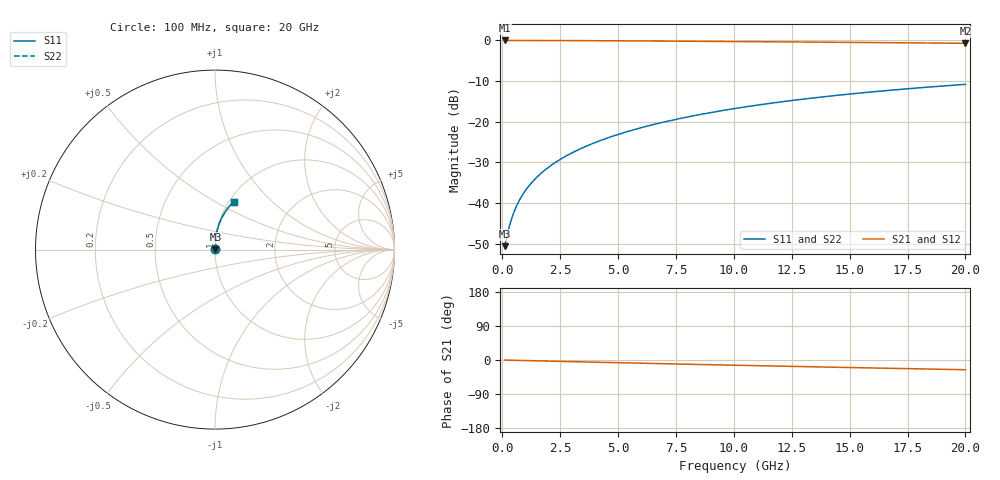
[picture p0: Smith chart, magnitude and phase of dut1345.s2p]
! Touchstone file exported from HFSS 2024.1.0
!  File:  C:/UserFiles/LocalFiles/RDL_TSV_Batchsim/temp_RDL_bottom_1345_1780370005.aedt
!  Generated:  11:16:08 AM Jun  2, 2026
!  Design:  RDL_bottom
!  Project:  temp_RDL_bottom_1345_1780370005
!  Setup:  Setup1
!  Solution:  Sweep
! Variables:
!  dtsv = 10.80580581um
!  hbump = 3um
!  htsv = 80.29um
!  ldown = 307.61um
!  lrdl = 100um
!  p = 40
!  p1 = 52.25um
!  rhole = 1um
!  t = 450um
!  tdown = 2.41um
!  trdl = 3.915915916um
!  wdown = 20.09um
!  wrdl = 20um
# GHz S MA R 50.000000
! Terminal data exported
! Port[1] = RDL1_T1
! Port[2] = RDL1_T2
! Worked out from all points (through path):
!   200 points, 100 MHz to 20 GHz, reference 50 ohm
!   highest |S21| = -0.02 dB at 100 MHz (marker M1); lowest = -0.7 dB at 20 GHz (marker M2)
!   group delay of S21, straight-line fit = 3.55 ps
!   lowest |S11| = -50.6 dB at 100 MHz (marker M3), VSWR 1.01, Z = 50.3 + j0.146 ohm
!   |S11| at or under -10 dB: start of sweep to end of sweep
!   |S22| runs from -50.6 to -10.8 dB; largest |S21 - S12| = 3e-15
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0.1  0.002937 29.7  0.9974 -0.2  0.9974 -0.2  0.002937 29.7
! Gamma 0 0 0 0
! Port Impedance 50 0 50 0
0.3  0.005079 58.5  0.9973 -0.5  0.9973 -0.5  0.00508 58.5
0.4  0.006353 64.6  0.9972 -0.6  0.9972 -0.6  0.006353 64.6
0.5  0.007656 68.5  0.9971 -0.8  0.9971 -0.8  0.007656 68.5
0.6  0.008967 71.3  0.997 -0.9  0.997 -0.9  0.008967 71.3
0.8  0.01159 74.9  0.9967 -1.2  0.9967 -1.2  0.01159 74.9
1.1  0.01553 78.2  0.9964 -1.6  0.9964 -1.6  0.01553 78.2
1.5  0.02082 80.8  0.9959 -2.2  0.9959 -2.2  0.02082 80.8
1.8  0.02482 82.0  0.9954 -2.6  0.9954 -2.6  0.02482 82.0
2.1  0.02886 82.9  0.9949 -3.1  0.9949 -3.1  0.02886 82.9
2.7  0.03703 84.1  0.9938 -3.9  0.9938 -3.9  0.03703 84.1
3.5  0.04814 84.8  0.9919 -5.1  0.9919 -5.1  0.04814 84.8
4.2  0.05804 85.0  0.9899 -6.1  0.9899 -6.1  0.05805 85.0
5  0.06957 85.0  0.9874 -7.2  0.9874 -7.2  0.06957 85.0
5.9  0.08276 84.6  0.9843 -8.4  0.9843 -8.4  0.08276 84.6
6.8  0.09614 84.0  0.981 -9.6  0.981 -9.6  0.09615 84.0
8.4  0.1202 82.6  0.9745 -11.7  0.9745 -11.7  0.1202 82.6
10.1  0.1459 80.8  0.9673 -13.9  0.9673 -13.9  0.146 80.8
11.7  0.17 78.9  0.9602 -15.9  0.9602 -15.9  0.17 78.9
13.4  0.1953 76.8  0.9524 -18.0  0.9524 -18.0  0.1953 76.8
16.7  0.2427 72.7  0.9367 -21.9  0.9367 -21.9  0.2427 72.7
20  0.2876 68.7  0.9202 -25.7  0.9202 -25.7  0.2876 68.7
